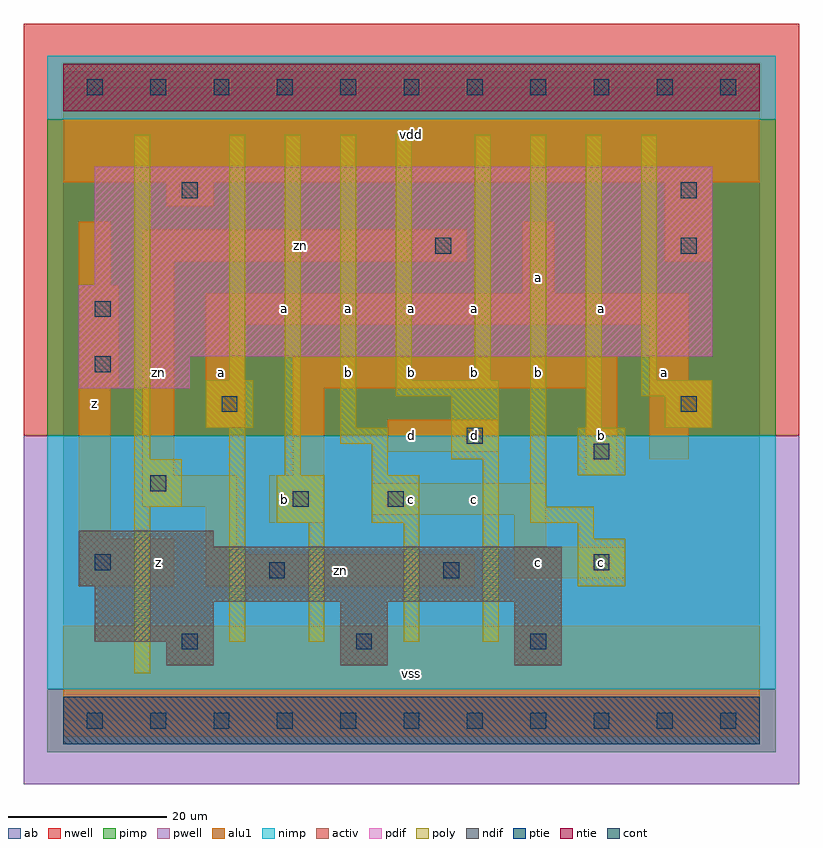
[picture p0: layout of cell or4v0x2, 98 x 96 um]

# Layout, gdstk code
import gdstk
lib = gdstk.Library(unit=1e-6, precision=1e-09)
def R(c, l, rs):  # rectangles x0, y0, x1, y1
    for r in rs: c.add(gdstk.rectangle(r[:2], r[2:], *l))
def A(c, l, x, y, w, h, nx, ny, dx, dy):  # array of equal rectangles
    R(c, l, [(x+i*dx, y+j*dy, x+i*dx+w, y+j*dy+h) for i in range(nx) for j in range(ny)])
ndif = (3, 0)
pdif = (4, 0)
ntie = (5, 0)
ptie = (6, 0)
cont = (25, 0)
pwell = (41, 0)
nwell = (42, 0)
activ = (43, 0)
pimp = (44, 0)
nimp = (45, 0)
poly = (46, 0)
alu1 = (49, 0)
ab = (63, 0)

or4v0x2 = lib.new_cell('or4v0x2')
R(or4v0x2, ndif, [(13,7,19,10), (35,7,41,15), (57,7,63,15), (4,10,19,15), (4,15,63,17), (2,17,63,22), (2,22,19,24)])
R(or4v0x2, pdif, [(2,42,16,46), (2,46,82,55), (4,55,82,70)])
R(or4v0x2, ntie, [(0,77,88,83)])
R(or4v0x2, ptie, [(0,-3,88,3)])
A(or4v0x2, cont, 3, -1, 2, 2, 11, 2, 8, 80)
A(or4v0x2, cont, 15, 9, 2, 2, 3, 1, 22, 0)
R(or4v0x2, cont, [(26,18,28,20), (48,18,50,20), (4,19,6,21), (67,19,69,21), (29,27,31,29), (41,27,43,29), (11,29,13,31), (67,33,69,35), (51,35,53,37), (20,39,22,41), (78,39,80,41), (4,44,6,46), (4,51,6,53), (47,59,49,61), (78,59,80,61), (15,66,17,68), (78,66,80,68)])
R(or4v0x2, pwell, [(-5,-8,93,36)])
R(or4v0x2, nwell, [(-5,36,93,88)])
R(or4v0x2, activ, [(0,-3,88,3), (13,7,19,10), (35,7,41,15), (57,7,63,15), (4,10,19,15), (4,15,63,17), (2,17,63,22), (2,22,19,24), (2,42,16,46), (2,46,82,55), (4,55,82,70), (0,77,88,83)])
R(or4v0x2, pimp, [(-2,-4,90,4), (-2,36,90,76)])
R(or4v0x2, nimp, [(-2,4,90,36), (-2,76,90,84)])
R(or4v0x2, poly, [(9,6,11,27), (21,10,23,37), (31,10,33,25), (43,10,45,25), (53,10,55,33), (65,17,71,23), (65,23,67,25), (27,25,33,31), (39,25,45,31), (59,25,67,27), (9,27,15,33), (59,27,61,74), (28,31,30,74), (39,31,41,35), (65,31,71,37), (9,33,11,74), (49,33,55,41), (35,35,41,37), (18,37,24,43), (35,37,37,74), (66,37,68,74), (76,37,82,41), (42,41,55,43), (73,41,82,43), (21,43,23,74), (42,43,44,74), (52,43,54,74), (73,43,75,74)])
R(or4v0x2, alu1, [(0,-2,88,12), (2,17,14,23), (18,17,52,21), (57,18,71,22), (18,21,22,27), (57,22,61,26), (2,23,6,42), (26,25,33,31), (39,26,61,30), (10,27,22,31), (10,31,14,58), (29,31,33,42), (66,31,70,42), (74,33,79,37), (41,34,55,38), (18,37,23,50), (74,37,82,43), (2,42,7,55), (29,42,70,46), (74,43,79,50), (18,50,79,54), (58,54,62,63), (2,55,6,63), (10,58,51,62), (76,58,82,68), (13,65,19,68), (0,68,88,82)])
R(or4v0x2, ab, [(0,0,88,80)])
or4v0x2.add(gdstk.Label('zn', (12,44), layer=49, texttype=0))
or4v0x2.add(gdstk.Label('zn', (35,19), layer=49, texttype=0))
or4v0x2.add(gdstk.Label('zn', (30,60), layer=49, texttype=0))
or4v0x2.add(gdstk.Label('z', (12,20), layer=49, texttype=0))
or4v0x2.add(gdstk.Label('z', (4,40), layer=49, texttype=0))
or4v0x2.add(gdstk.Label('b', (28,28), layer=49, texttype=0))
or4v0x2.add(gdstk.Label('a', (20,44), layer=49, texttype=0))
or4v0x2.add(gdstk.Label('a', (28,52), layer=49, texttype=0))
or4v0x2.add(gdstk.Label('vss', (44,6), layer=49, texttype=0))
or4v0x2.add(gdstk.Label('c', (44,28), layer=49, texttype=0))
or4v0x2.add(gdstk.Label('b', (36,44), layer=49, texttype=0))
or4v0x2.add(gdstk.Label('d', (44,36), layer=49, texttype=0))
or4v0x2.add(gdstk.Label('b', (44,44), layer=49, texttype=0))
or4v0x2.add(gdstk.Label('a', (44,52), layer=49, texttype=0))
or4v0x2.add(gdstk.Label('a', (36,52), layer=49, texttype=0))
or4v0x2.add(gdstk.Label('vdd', (44,74), layer=49, texttype=0))
or4v0x2.add(gdstk.Label('c', (52,28), layer=49, texttype=0))
or4v0x2.add(gdstk.Label('c', (60,20), layer=49, texttype=0))
or4v0x2.add(gdstk.Label('c', (68,20), layer=49, texttype=0))
or4v0x2.add(gdstk.Label('d', (52,36), layer=49, texttype=0))
or4v0x2.add(gdstk.Label('b', (52,44), layer=49, texttype=0))
or4v0x2.add(gdstk.Label('b', (60,44), layer=49, texttype=0))
or4v0x2.add(gdstk.Label('b', (68,36), layer=49, texttype=0))
or4v0x2.add(gdstk.Label('a', (68,52), layer=49, texttype=0))
or4v0x2.add(gdstk.Label('a', (52,52), layer=49, texttype=0))
or4v0x2.add(gdstk.Label('a', (60,56), layer=49, texttype=0))
or4v0x2.add(gdstk.Label('a', (76,44), layer=49, texttype=0))

lib.write_gds('or4v0x2.gds')
